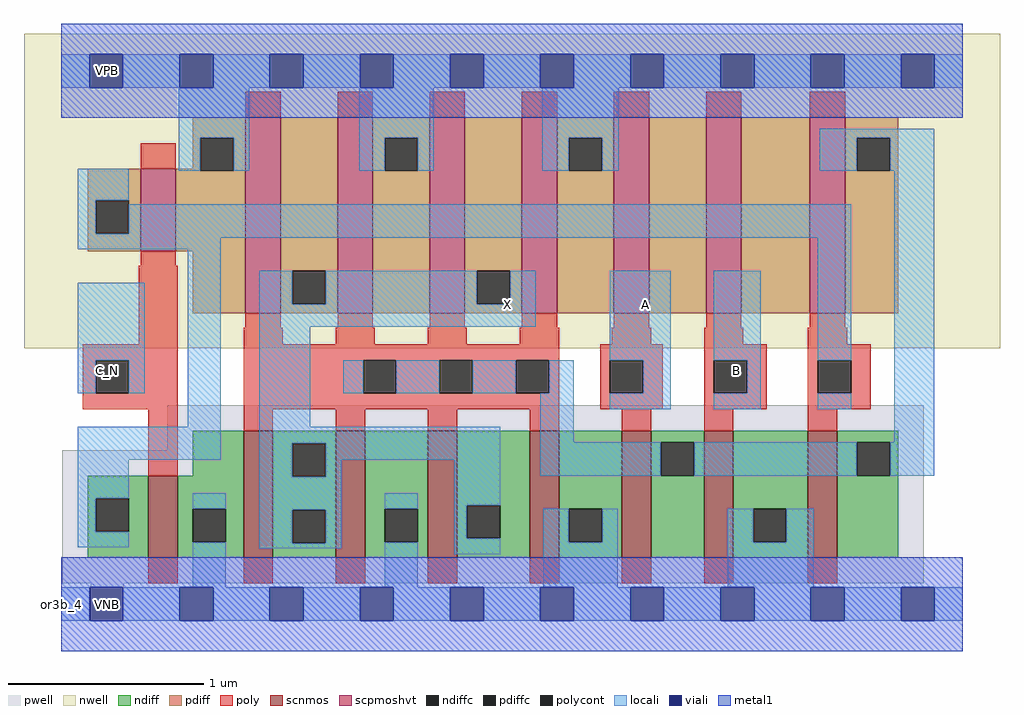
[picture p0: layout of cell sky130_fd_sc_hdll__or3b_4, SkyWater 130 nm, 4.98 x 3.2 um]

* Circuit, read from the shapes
.subckt sky130_fd_sc_hdll__or3b_4 A B C_N VGND VNB VPB VPWR X
XM1 VGND C_N n1 VNB sky130_fd_pr__nfet_01v8 w=0.42 l=0.15
XM2 X n2 VGND VNB sky130_fd_pr__nfet_01v8 w=0.65 l=0.15 m=4
XM3 n2 A VGND VNB sky130_fd_pr__nfet_01v8 w=0.65 l=0.15
XM4 VGND B n2 VNB sky130_fd_pr__nfet_01v8 w=0.65 l=0.15
XM5 n2 n1 VGND VNB sky130_fd_pr__nfet_01v8 w=0.65 l=0.15
XM6 VPWR C_N n1 VPB sky130_fd_pr__pfet_01v8_hvt w=0.42 l=0.18
XM7 X n2 VPWR VPB sky130_fd_pr__pfet_01v8_hvt w=1 l=0.18 m=4
XM8 n3 A VPWR VPB sky130_fd_pr__pfet_01v8_hvt w=1 l=0.18
XM9 n4 B n3 VPB sky130_fd_pr__pfet_01v8_hvt w=1 l=0.18
XM10 n2 n1 n4 VPB sky130_fd_pr__pfet_01v8_hvt w=1 l=0.18
.ends

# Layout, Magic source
magic
tech sky130A
magscale 1 2
<< nwell >>
rect -38 261 958 582
<< pwell >>
rect 108 157 880 203
rect 1 21 880 157
rect 30 -17 64 21
<< scnmos >>
rect 89 47 119 131
rect 186 47 216 177
rect 280 47 310 177
rect 374 47 404 177
rect 478 47 508 177
rect 572 47 602 177
rect 656 47 686 177
rect 762 47 792 177
<< scpmoshvt >>
rect 81 360 117 444
rect 188 297 224 497
rect 282 297 318 497
rect 376 297 412 497
rect 470 297 506 497
rect 564 297 600 497
rect 658 297 694 497
rect 764 297 800 497
<< ndiff >>
rect 134 131 186 177
rect 27 108 89 131
rect 27 74 35 108
rect 69 74 89 108
rect 27 47 89 74
rect 119 97 186 131
rect 119 63 134 97
rect 168 63 186 97
rect 119 47 186 63
rect 216 164 280 177
rect 216 130 236 164
rect 270 130 280 164
rect 216 96 280 130
rect 216 62 236 96
rect 270 62 280 96
rect 216 47 280 62
rect 310 97 374 177
rect 310 63 330 97
rect 364 63 374 97
rect 310 47 374 63
rect 404 101 478 177
rect 404 67 414 101
rect 448 67 478 101
rect 404 47 478 67
rect 508 97 572 177
rect 508 63 518 97
rect 552 63 572 97
rect 508 47 572 63
rect 602 165 656 177
rect 602 131 612 165
rect 646 131 656 165
rect 602 47 656 131
rect 686 97 762 177
rect 686 63 706 97
rect 740 63 762 97
rect 686 47 762 63
rect 792 165 854 177
rect 792 131 812 165
rect 846 131 854 165
rect 792 47 854 131
<< pdiff >>
rect 134 476 188 497
rect 134 444 142 476
rect 27 412 81 444
rect 27 378 35 412
rect 69 378 81 412
rect 27 360 81 378
rect 117 442 142 444
rect 176 442 188 476
rect 117 360 188 442
rect 134 297 188 360
rect 224 340 282 497
rect 224 306 236 340
rect 270 306 282 340
rect 224 297 282 306
rect 318 476 376 497
rect 318 442 330 476
rect 364 442 376 476
rect 318 297 376 442
rect 412 340 470 497
rect 412 306 424 340
rect 458 306 470 340
rect 412 297 470 306
rect 506 476 564 497
rect 506 442 518 476
rect 552 442 564 476
rect 506 297 564 442
rect 600 297 658 497
rect 694 297 764 497
rect 800 476 854 497
rect 800 442 812 476
rect 846 442 854 476
rect 800 297 854 442
<< ndiffc >>
rect 35 74 69 108
rect 134 63 168 97
rect 236 130 270 164
rect 236 62 270 96
rect 330 63 364 97
rect 414 67 448 101
rect 518 63 552 97
rect 612 131 646 165
rect 706 63 740 97
rect 812 131 846 165
<< pdiffc >>
rect 35 378 69 412
rect 142 442 176 476
rect 236 306 270 340
rect 330 442 364 476
rect 424 306 458 340
rect 518 442 552 476
rect 812 442 846 476
<< poly >>
rect 188 497 224 523
rect 282 497 318 523
rect 376 497 412 523
rect 470 497 506 523
rect 564 497 600 523
rect 658 497 694 523
rect 764 497 800 523
rect 81 444 117 470
rect 81 345 117 360
rect 79 265 119 345
rect 188 282 224 297
rect 282 282 318 297
rect 376 282 412 297
rect 470 282 506 297
rect 564 282 600 297
rect 658 282 694 297
rect 764 282 800 297
rect 22 249 119 265
rect 22 215 35 249
rect 69 215 119 249
rect 22 199 119 215
rect 89 131 119 199
rect 186 265 226 282
rect 280 265 320 282
rect 374 265 414 282
rect 468 265 508 282
rect 562 265 602 282
rect 656 265 696 282
rect 762 265 802 282
rect 186 249 508 265
rect 186 215 308 249
rect 342 215 386 249
rect 420 215 464 249
rect 498 215 508 249
rect 186 199 508 215
rect 550 249 614 265
rect 550 215 560 249
rect 594 215 614 249
rect 550 199 614 215
rect 656 249 720 265
rect 656 215 666 249
rect 700 215 720 249
rect 656 199 720 215
rect 762 249 826 265
rect 762 215 772 249
rect 806 215 826 249
rect 762 199 826 215
rect 186 177 216 199
rect 280 177 310 199
rect 374 177 404 199
rect 478 177 508 199
rect 572 177 602 199
rect 656 177 686 199
rect 762 177 792 199
rect 89 21 119 47
rect 186 21 216 47
rect 280 21 310 47
rect 374 21 404 47
rect 478 21 508 47
rect 572 21 602 47
rect 656 21 686 47
rect 762 21 792 47
<< polycont >>
rect 35 215 69 249
rect 308 215 342 249
rect 386 215 420 249
rect 464 215 498 249
rect 560 215 594 249
rect 666 215 700 249
rect 772 215 806 249
<< locali >>
rect 0 527 29 561
rect 63 527 121 561
rect 155 527 213 561
rect 247 527 305 561
rect 339 527 397 561
rect 431 527 489 561
rect 523 527 581 561
rect 615 527 673 561
rect 707 527 765 561
rect 799 527 857 561
rect 891 527 920 561
rect 120 476 192 527
rect 17 412 69 444
rect 120 442 142 476
rect 176 442 192 476
rect 304 476 380 527
rect 304 442 330 476
rect 364 442 380 476
rect 491 476 569 527
rect 491 442 518 476
rect 552 442 569 476
rect 774 476 891 485
rect 774 442 812 476
rect 846 442 891 476
rect 17 378 35 412
rect 69 378 806 408
rect 17 374 806 378
rect 17 362 163 374
rect 17 249 85 328
rect 17 215 35 249
rect 69 215 85 249
rect 129 181 163 362
rect 17 147 163 181
rect 202 306 236 340
rect 270 306 424 340
rect 458 306 484 340
rect 202 283 484 306
rect 202 181 254 283
rect 560 249 622 340
rect 288 215 308 249
rect 342 215 386 249
rect 420 215 464 249
rect 498 215 523 249
rect 202 164 448 181
rect 17 108 69 147
rect 202 130 236 164
rect 270 147 448 164
rect 270 130 286 147
rect 17 74 35 108
rect 17 58 69 74
rect 134 97 168 113
rect 134 17 168 63
rect 202 96 286 130
rect 202 62 236 96
rect 270 62 286 96
rect 202 57 286 62
rect 330 97 364 113
rect 330 17 364 63
rect 401 101 448 147
rect 489 165 523 215
rect 594 215 622 249
rect 560 199 622 215
rect 666 249 714 340
rect 700 215 714 249
rect 666 199 714 215
rect 772 249 806 374
rect 772 199 806 215
rect 850 165 891 442
rect 489 131 612 165
rect 646 131 812 165
rect 846 131 891 165
rect 401 67 414 101
rect 401 51 448 67
rect 492 63 518 97
rect 552 63 568 97
rect 492 17 568 63
rect 680 63 706 97
rect 740 63 768 97
rect 680 17 768 63
rect 0 -17 29 17
rect 63 -17 121 17
rect 155 -17 213 17
rect 247 -17 305 17
rect 339 -17 397 17
rect 431 -17 489 17
rect 523 -17 581 17
rect 615 -17 673 17
rect 707 -17 765 17
rect 799 -17 857 17
rect 891 -17 920 17
<< viali >>
rect 29 527 63 561
rect 121 527 155 561
rect 213 527 247 561
rect 305 527 339 561
rect 397 527 431 561
rect 489 527 523 561
rect 581 527 615 561
rect 673 527 707 561
rect 765 527 799 561
rect 857 527 891 561
rect 29 -17 63 17
rect 121 -17 155 17
rect 213 -17 247 17
rect 305 -17 339 17
rect 397 -17 431 17
rect 489 -17 523 17
rect 581 -17 615 17
rect 673 -17 707 17
rect 765 -17 799 17
rect 857 -17 891 17
<< metal1 >>
rect 0 561 920 592
rect 0 527 29 561
rect 63 527 121 561
rect 155 527 213 561
rect 247 527 305 561
rect 339 527 397 561
rect 431 527 489 561
rect 523 527 581 561
rect 615 527 673 561
rect 707 527 765 561
rect 799 527 857 561
rect 891 527 920 561
rect 0 496 920 527
rect 0 17 920 48
rect 0 -17 29 17
rect 63 -17 121 17
rect 155 -17 213 17
rect 247 -17 305 17
rect 339 -17 397 17
rect 431 -17 489 17
rect 523 -17 581 17
rect 615 -17 673 17
rect 707 -17 765 17
rect 799 -17 857 17
rect 891 -17 920 17
rect 0 -48 920 -17
<< labels >>
flabel locali s 579 289 613 323 0 FreeSans 400 0 0 0 A
port 1 nsew signal input
flabel locali s 672 221 706 255 0 FreeSans 400 0 0 0 B
port 2 nsew signal input
flabel locali s 30 221 64 255 0 FreeSans 400 0 0 0 C_N
port 3 nsew signal input
flabel locali s 438 289 472 323 0 FreeSans 200 180 0 0 X
port 8 nsew signal output
flabel pwell s 30 -17 64 17 0 FreeSans 200 0 0 0 VNB
port 5 nsew ground bidirectional
flabel nwell s 30 527 64 561 0 FreeSans 200 0 0 0 VPB
port 6 nsew power bidirectional
flabel metal1 s 30 -17 64 17 0 FreeSans 200 0 0 0 VGND
port 4 nsew ground bidirectional
flabel metal1 s 30 527 64 561 0 FreeSans 200 0 0 0 VPWR
port 7 nsew power bidirectional
rlabel comment s 0 0 0 0 4 or3b_4
<< properties >>
string LEFsite unithd
string LEFclass CORE
string FIXED_BBOX 0 0 920 544
string GDS_FILE $PDKPATH/libs.ref/sky130_fd_sc_hdll/gds/sky130_fd_sc_hdll.gds
string LEFsymmetry X Y R90
string GDS_END 1427856
string GDS_START 1421166
string LEFproperties maskLayoutSubType "abstract" prCellType "standard" originalViewName "layout"
<< end >>
